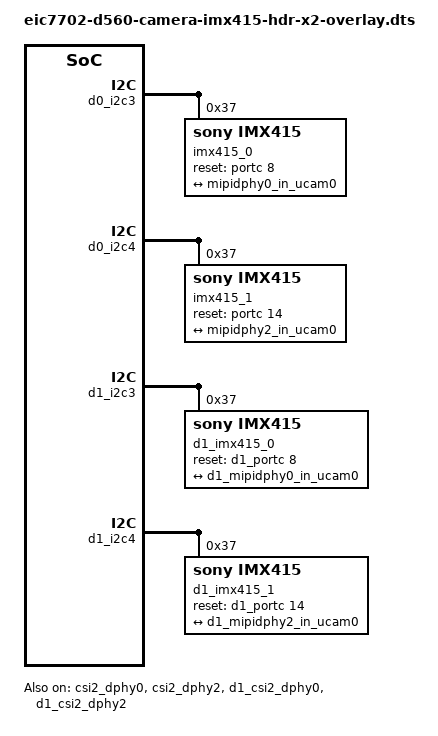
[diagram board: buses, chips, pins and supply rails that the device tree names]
/* SPDX-License-Identifier: GPL-2.0 */
/*
 * Copyright 2026, Beijing ESWIN Computing Technology Co., Ltd.. All rights reserved.
 *
 */

/dts-v1/;
/plugin/;

/ {
	fragment@0 {
		target = <&mipidphy0_in_ucam0>;
		__overlay__ {
			remote-endpoint = <&imx415_out0>;
			data-lanes = <1 2 3 4>;
		};
	};

	fragment@1 {
		target = <&mipidphy2_in_ucam0>;
		__overlay__ {
			remote-endpoint = <&imx415_out1>;
			data-lanes = <1 2 3 4>;
		};
	};

	fragment@2 {
		target = <&d1_mipidphy0_in_ucam0>;
		__overlay__ {
			remote-endpoint = <&d1_imx415_out0>;
			data-lanes = <1 2 3 4>;
		};
	};

	fragment@3 {
		target = <&d1_mipidphy2_in_ucam0>;
		__overlay__ {
			remote-endpoint = <&d1_imx415_out1>;
			data-lanes = <1 2 3 4>;
		};
	};

	fragment@4 {
		target = <&csi2_dphy0>;
		__overlay__ {
			status = "okay";
		};
	};

	fragment@5 {
		target = <&csi2_dphy2>;
		__overlay__ {
			status = "okay";
		};
	};

	fragment@6 {
		target = <&d1_csi2_dphy0>;
		__overlay__ {
			status = "okay";
		};
	};

	fragment@7 {
		target = <&d1_csi2_dphy2>;
		__overlay__ {
			status = "okay";
		};
	};

	fragment@8 {
		target = <&d0_i2c3>;
		__overlay__ {
			#address-cells = <1>;
			#size-cells = <0>;
			imx415_0: imx415@37 {
				compatible = "sony,imx415";
				reg = <0x37>;
				clock-names="inck";
				clocks = <&d0_clock 0x244>;
				assigned-clocks = <&d0_clock 0x244>;
				assigned-clock-rates = <37125000>;
				reset-gpio = <&portc 8 0>;
				eswin,camera-hdr-mode = <1>;
				power-domains = <&d0_pmu 2>;
				status = "okay";
				port {
					imx415_out0: endpoint {
						remote-endpoint = <&mipidphy0_in_ucam0>;
						data-lanes = <1 2 3 4>;
						link-frequencies = /bits/ 64 <742500000>;
					};
				};
			};
		};
	};

	fragment@9 {
		target = <&d0_i2c4>;
		__overlay__ {
			#address-cells = <1>;
			#size-cells = <0>;
			imx415_1: imx415@37 {
				compatible = "sony,imx415";
				reg = <0x37>;
				clock-names="inck";
				clocks = <&d0_clock 0x244>;
				assigned-clocks = <&d0_clock 0x244>;
				assigned-clock-rates = <37125000>;
				reset-gpio = <&portc 14 0>;
				eswin,camera-hdr-mode = <1>;
				power-domains = <&d0_pmu 2>;
				status = "okay";
				port {
					imx415_out1: endpoint {
						remote-endpoint = <&mipidphy2_in_ucam0>;
						data-lanes = <1 2 3 4>;
						link-frequencies = /bits/ 64 <742500000>;
					};
				};
			};
		};
	};

	fragment@10 {
		target = <&d1_i2c3>;
		__overlay__ {
			#address-cells = <1>;
			#size-cells = <0>;
			d1_imx415_0: imx415@37 {
				compatible = "sony,imx415";
				reg = <0x37>;
				clock-names="inck";
				clocks = <&d1_clock 0x244>;
				assigned-clocks = <&d1_clock 0x244>;
				assigned-clock-rates = <37125000>;
				reset-gpio = <&d1_portc 8 0>;
				eswin,camera-hdr-mode = <1>;
				power-domains = <&d1_pmu 2>;
				status = "okay";
				port {
					d1_imx415_out0: endpoint {
						remote-endpoint = <&d1_mipidphy0_in_ucam0>;
						data-lanes = <1 2 3 4>;
						link-frequencies = /bits/ 64 <742500000>;
					};
				};
			};
		};
	};

	fragment@11 {
		target = <&d1_i2c4>;
		__overlay__ {
			#address-cells = <1>;
			#size-cells = <0>;
			d1_imx415_1: imx415@37 {
				compatible = "sony,imx415";
				reg = <0x37>;
				clock-names="inck";
				clocks = <&d1_clock 0x244>;
				assigned-clocks = <&d1_clock 0x244>;
				assigned-clock-rates = <37125000>;
				reset-gpio = <&d1_portc 14 0>;
				eswin,camera-hdr-mode = <1>;
				power-domains = <&d1_pmu 2>;
				status = "okay";
				port {
					d1_imx415_out1: endpoint {
						remote-endpoint = <&d1_mipidphy2_in_ucam0>;
						data-lanes = <1 2 3 4>;
						link-frequencies = /bits/ 64 <742500000>;
					};
				};
			};
		};
	};

	fragment@12 {
		target = <&mipi_csi2_0>;
		__overlay__ {
			eswin,csi-hdr-mode = <1>;
		};
	};

	fragment@13 {
		target = <&mipi_csi2_2>;
		__overlay__ {
			eswin,csi-hdr-mode = <1>;
		};
	};

	fragment@14 {
		target = <&d1_mipi_csi2_0>;
		__overlay__ {
			eswin,csi-hdr-mode = <1>;
		};
	};

	fragment@15 {
		target = <&d1_mipi_csi2_2>;
		__overlay__ {
			eswin,csi-hdr-mode = <1>;
		};
	};

	fragment@16 {
		target = <&dvp2axi_mipi_lvds0>;
		__overlay__ {
			eswin,dvp2axi-hdr-mode = <1>;
		};
	};

	fragment@17 {
		target = <&dvp2axi_mipi_lvds1>;
		__overlay__ {
			eswin,dvp2axi-hdr-mode = <1>;
		};
	};

	fragment@18 {
		target = <&dvp2axi_mipi_lvds2>;
		__overlay__ {
			eswin,dvp2axi-hdr-mode = <1>;
		};
	};

	fragment@19 {
		target = <&d1_dvp2axi_mipi_lvds0>;
		__overlay__ {
			eswin,dvp2axi-hdr-mode = <1>;
		};
	};

	fragment@20 {
		target = <&d1_dvp2axi_mipi_lvds1>;
		__overlay__ {
			eswin,dvp2axi-hdr-mode = <1>;
		};
	};

	fragment@21 {
		target = <&d1_dvp2axi_mipi_lvds2>;
		__overlay__ {
			eswin,dvp2axi-hdr-mode = <1>;
		};
	};

	fragment@22 {
		target = <&camera_imx219>;
		__overlay__ {
			status = "disabled";
		};
	};

	fragment@23 {
		target = <&camera_imx219_1>;
		__overlay__ {
			status = "disabled";
		};
	};

	fragment@24 {
		target = <&d1_camera_imx219>;
		__overlay__ {
			status = "disabled";
		};
	};

	fragment@25 {
		target = <&d1_camera_imx219_1>;
		__overlay__ {
			status = "disabled";
		};
	};

	fragment@26 {
		target = <&csi2_dphy_hw0>;
		__overlay__ {
			lanes = <1 2 3 4>;
			lanes-dp-dn = <0 0 0 0>;
		};
	};

	fragment@27 {
		target = <&csi2_dphy_hw2>;
		__overlay__ {
			lanes = <1 2 3 4>;
			lanes-dp-dn = <0 0 0 0>;
		};
	};

	fragment@28 {
		target = <&d1_csi2_dphy_hw0>;
		__overlay__ {
			lanes = <1 2 3 4>;
			lanes-dp-dn = <0 0 0 0>;
		};
	};

	fragment@29 {
		target = <&d1_csi2_dphy_hw2>;
		__overlay__ {
			lanes = <1 2 3 4>;
			lanes-dp-dn = <0 0 0 0>;
		};
	};

	fragment@30 {
		target = <&vi_subsys>;
		__overlay__ {
			phy_mode = <2>;
		};
	};
};
